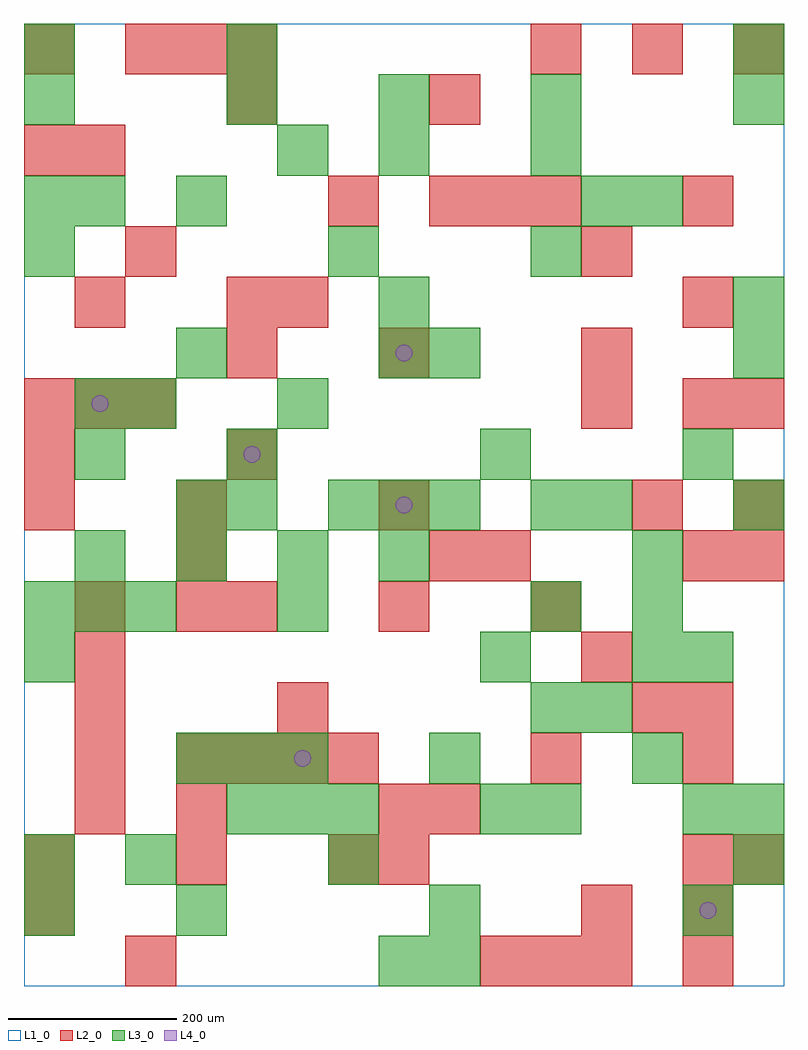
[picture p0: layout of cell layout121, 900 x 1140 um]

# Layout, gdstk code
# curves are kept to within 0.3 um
import gdstk
lib = gdstk.Library(unit=1e-6, precision=1e-09)
def R(c, l, rs):  # rectangles x0, y0, x1, y1
    for r in rs: c.add(gdstk.rectangle(r[:2], r[2:], *l))
def A(c, l, x, y, w, h, nx, ny, dx, dy):  # array of equal rectangles
    R(c, l, [(x+i*dx, y+j*dy, x+i*dx+w, y+j*dy+h) for i in range(nx) for j in range(ny)])
def P(c, l, *ps):  # polygons
    for p in ps: c.add(gdstk.Polygon(p, *l))
L1_0 = (1, 0)
L2_0 = (2, 0)
L3_0 = (3, 0)
L4_0 = (4, 0)

layout121 = lib.new_cell('layout121')
R(layout121, L1_0, [(0,0,900,1140)])
A(layout121, L2_0, 540, 0, 60, 60, 3, 1, 60, 0)
A(layout121, L2_0, 780, 0, 60, 60, 1, 3, 0, 60)
A(layout121, L2_0, 660, 60, 60, 60, 1, 3, 0, 300)
A(layout121, L2_0, 0, 120, 60, 60, 3, 1, 180, 0)
A(layout121, L2_0, 60, 180, 60, 60, 1, 5, 0, 60)
A(layout121, L2_0, 180, 240, 60, 60, 4, 1, 60, 0)
A(layout121, L2_0, 780, 300, 60, 60, 1, 3, 0, 180)
A(layout121, L2_0, 180, 420, 60, 60, 1, 3, 0, 60)
A(layout121, L2_0, 240, 420, 60, 60, 3, 1, 180, 0)
A(layout121, L2_0, 0, 660, 60, 60, 3, 1, 60, 0)
A(layout121, L2_0, 480, 900, 60, 60, 3, 1, 60, 0)
A(layout121, L2_0, 120, 1080, 60, 60, 3, 1, 60, 0)
A(layout121, L2_0, 600, 1080, 60, 60, 3, 1, 120, 0)
R(layout121, L2_0, [(120,0,180,60), (0,60,60,120), (420,120,480,180), (840,120,900,180), (180,180,240,240), (420,180,480,240), (480,180,540,240), (600,240,660,300), (780,240,840,300), (300,300,360,360), (720,300,780,360), (480,480,540,540), (540,480,600,540), (840,480,900,540), (0,540,60,600), (420,540,480,600), (720,540,780,600), (840,540,900,600), (0,600,60,660), (240,600,300,660), (840,660,900,720), (240,720,300,780), (420,720,480,780), (660,720,720,780), (60,780,120,840), (240,780,300,840), (300,780,360,840), (780,780,840,840), (120,840,180,900), (660,840,720,900), (360,900,420,960), (780,900,840,960), (0,960,60,1020), (60,960,120,1020), (240,1020,300,1080), (480,1020,540,1080), (0,1080,60,1140)])
A(layout121, L3_0, 180, 60, 60, 60, 3, 1, 300, 0)
A(layout121, L3_0, 240, 180, 60, 60, 3, 1, 60, 0)
A(layout121, L3_0, 600, 180, 60, 60, 1, 4, 0, 120)
A(layout121, L3_0, 180, 240, 60, 60, 3, 1, 60, 0)
A(layout121, L3_0, 720, 360, 60, 60, 1, 3, 0, 60)
A(layout121, L3_0, 0, 420, 60, 60, 3, 1, 60, 0)
A(layout121, L3_0, 60, 480, 60, 60, 4, 1, 120, 0)
A(layout121, L3_0, 180, 540, 60, 60, 1, 3, 0, 180)
A(layout121, L3_0, 360, 540, 60, 60, 3, 1, 60, 0)
A(layout121, L3_0, 240, 1020, 60, 60, 3, 1, 180, 0)
R(layout121, L3_0, [(420,0,480,60), (480,0,540,60), (0,60,60,120), (0,120,60,180), (120,120,180,180), (360,120,420,180), (840,120,900,180), (540,180,600,240), (780,180,840,240), (840,180,900,240), (480,240,540,300), (720,240,780,300), (660,300,720,360), (0,360,60,420), (540,360,600,420), (780,360,840,420), (300,420,360,480), (240,540,300,600), (660,540,720,600), (840,540,900,600), (60,600,120,660), (240,600,300,660), (540,600,600,660), (780,600,840,660), (60,660,120,720), (120,660,180,720), (300,660,360,720), (420,720,480,780), (480,720,540,780), (840,720,900,780), (420,780,480,840), (840,780,900,840), (0,840,60,900), (360,840,420,900), (600,840,660,900), (0,900,60,960), (60,900,120,960), (660,900,720,960), (720,900,780,960), (300,960,360,1020), (420,960,480,1020), (600,960,660,1020), (0,1020,60,1080), (840,1020,900,1080), (0,1080,60,1140), (240,1080,300,1140), (840,1080,900,1140)])
P(layout121, L4_0, [(100,690),(99.239,693.827),(97.071,697.071),(93.827,699.239),(90,700),(86.173,699.239),(82.929,697.071),(80.761,693.827),(80,690),(80.761,686.173),(82.929,682.929),(86.173,680.761),(90,680),(93.827,680.761),(97.071,682.929),(99.239,686.173)],
  [(280,630),(279.239,633.827),(277.071,637.071),(273.827,639.239),(270,640),(266.173,639.239),(262.929,637.071),(260.761,633.827),(260,630),(260.761,626.173),(262.929,622.929),(266.173,620.761),(270,620),(273.827,620.761),(277.071,622.929),(279.239,626.173)],
  [(340,270),(339.239,273.827),(337.071,277.071),(333.827,279.239),(330,280),(326.173,279.239),(322.929,277.071),(320.761,273.827),(320,270),(320.761,266.173),(322.929,262.929),(326.173,260.761),(330,260),(333.827,260.761),(337.071,262.929),(339.239,266.173)],
  [(460,570),(459.239,573.827),(457.071,577.071),(453.827,579.239),(450,580),(446.173,579.239),(442.929,577.071),(440.761,573.827),(440,570),(440.761,566.173),(442.929,562.929),(446.173,560.761),(450,560),(453.827,560.761),(457.071,562.929),(459.239,566.173)],
  [(460,750),(459.239,753.827),(457.071,757.071),(453.827,759.239),(450,760),(446.173,759.239),(442.929,757.071),(440.761,753.827),(440,750),(440.761,746.173),(442.929,742.929),(446.173,740.761),(450,740),(453.827,740.761),(457.071,742.929),(459.239,746.173)],
  [(820,90),(819.239,93.827),(817.071,97.071),(813.827,99.239),(810,100),(806.173,99.239),(802.929,97.071),(800.761,93.827),(800,90),(800.761,86.173),(802.929,82.929),(806.173,80.761),(810,80),(813.827,80.761),(817.071,82.929),(819.239,86.173)])

lib.write_gds('layout121.gds')
